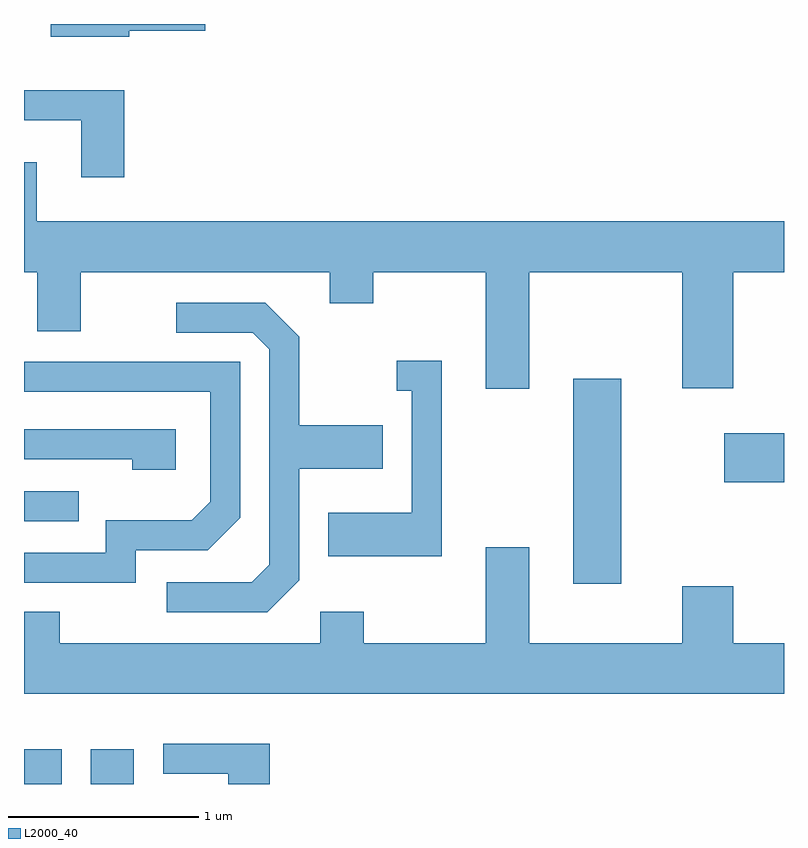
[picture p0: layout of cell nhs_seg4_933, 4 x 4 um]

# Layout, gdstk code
import gdstk
lib = gdstk.Library(unit=1e-6, precision=1e-09)
def R(c, l, rs):  # rectangles x0, y0, x1, y1
    for r in rs: c.add(gdstk.rectangle(r[:2], r[2:], *l))
def P(c, l, *ps):  # polygons
    for p in ps: c.add(gdstk.Polygon(p, *l))
L2000_40 = (2000, 40)

nhs_seg4_933 = lib.new_cell('nhs_seg4_933')
R(nhs_seg4_933, L2000_40, [(211.611,1351.982,211.809,1352.164), (211.961,1351.982,212.189,1352.164), (214.501,1353.036,214.754,1354.114), (211.611,1353.366,211.898,1353.524), (215.296,1353.571,215.611,1353.829)])
P(nhs_seg4_933, L2000_40, [(212.164,1355.946),(212.564,1355.946),(212.564,1355.982),(211.751,1355.982),(211.751,1355.916),(212.164,1355.916)],
  [(212.139,1355.634),(211.611,1355.634),(211.611,1355.476),(211.911,1355.476),(211.911,1355.176),(212.139,1355.176)],
  [(211.679,1355.254),(211.611,1355.254),(211.611,1354.676),(211.681,1354.676),(211.681,1354.366),(211.909,1354.366),(211.909,1354.676),(213.221,1354.676),(213.221,1354.511),(213.449,1354.511),(213.449,1354.676),(214.041,1354.676),(214.041,1354.061),(214.269,1354.061),(214.269,1354.676),(215.076,1354.676),(215.076,1354.066),(215.344,1354.066),(215.344,1354.676),(215.611,1354.676),(215.611,1354.944),(211.679,1354.944)],
  [(213.059,1353.054),(213.059,1353.641),(213.499,1353.641),(213.499,1353.869),(213.059,1353.869),(213.059,1354.337),(212.882,1354.514),(212.413,1354.514),(212.413,1354.356),(212.814,1354.356),(212.901,1354.269),(212.901,1353.137),(212.809,1353.044),(212.363,1353.044),(212.363,1352.886),(212.892,1352.886)],
  [(213.809,1354.209),(213.573,1354.209),(213.573,1354.051),(213.651,1354.051),(213.651,1353.409),(213.211,1353.409),(213.211,1353.181),(213.809,1353.181)],
  [(212.199,1353.211),(212.577,1353.211),(212.749,1353.384),(212.749,1354.204),(211.611,1354.204),(211.611,1354.046),(212.591,1354.046),(212.591,1353.467),(212.494,1353.369),(212.041,1353.369),(212.041,1353.199),(211.611,1353.199),(211.611,1353.041),(212.199,1353.041)],
  [(212.409,1353.849),(211.611,1353.849),(211.611,1353.691),(212.181,1353.691),(212.181,1353.636),(212.409,1353.636)],
  [(215.611,1352.724),(215.344,1352.724),(215.344,1353.024),(215.076,1353.024),(215.076,1352.724),(214.269,1352.724),(214.269,1353.229),(214.041,1353.229),(214.041,1352.724),(213.399,1352.724),(213.399,1352.889),(213.171,1352.889),(213.171,1352.724),(211.799,1352.724),(211.799,1352.889),(211.611,1352.889),(211.611,1352.456),(215.611,1352.456)],
  [(212.904,1352.194),(212.343,1352.194),(212.343,1352.036),(212.686,1352.036),(212.686,1351.982),(212.904,1351.982)])

lib.write_gds('nhs_seg4_933.gds')
